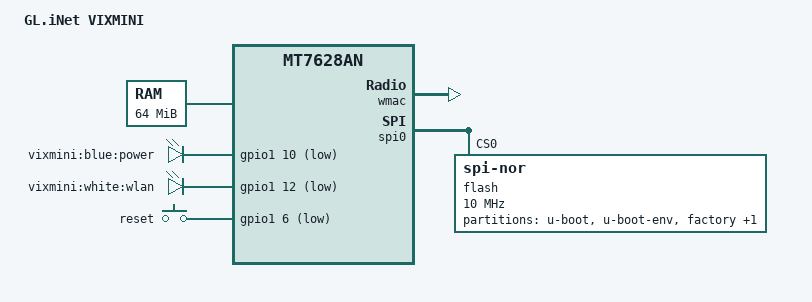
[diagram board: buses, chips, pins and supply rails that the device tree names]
// SPDX-License-Identifier: GPL-2.0-or-later OR MIT
/dts-v1/;

#include "mt7628an.dtsi"

#include <dt-bindings/gpio/gpio.h>
#include <dt-bindings/input/input.h>

/{
	compatible = "glinet,vixmini", "mediatek,mt7628an-soc";
	model = "GL.iNet VIXMINI";

	aliases {
		led-boot = &led_power;
		led-failsafe = &led_power;
		led-running = &led_power;
		led-upgrade = &led_power;
	};

	chosen {
		bootargs = "console=ttyS0,115200";
	};

	memory@0 {
		device_type = "memory";
		reg = <0x0 0x4000000>;
	};

	leds {
		compatible = "gpio-leds";

		led_power: power {
			label = "vixmini:blue:power";
			default-state = "on";
			gpios = <&gpio1 10 GPIO_ACTIVE_LOW>;
		};

		wlan {
			label = "vixmini:white:wlan";
			gpios = <&gpio1 12 GPIO_ACTIVE_LOW>;
			linux,default-trigger = "phy0tpt";
		};
	};

	keys {
		compatible = "gpio-keys-polled";
		poll-interval = <20>;

		reset {
			label = "reset";
			gpios = <&gpio1 6 GPIO_ACTIVE_LOW>;
			linux,code = <KEY_RESTART>;
		};
	};
};

&pinctrl {
	state_default: pinctrl0 {
		gpio {
			ralink,group = "wdt", "wled_an", "p1led_an";
			ralink,function = "gpio";
		};
	};
};

&ethernet {
	mtd-mac-address = <&factory 0x4>;
};

&wmac {
	status = "okay";

	ralink,mtd-eeprom = <&factory 0x0>;
};

&spi0 {
	status = "okay";

	flash@0 {
		compatible = "jedec,spi-nor";
		reg = <0>;
		spi-max-frequency = <10000000>;

		partitions {
			compatible = "fixed-partitions";
			#address-cells = <1>;
			#size-cells = <1>;

			partition@0 {
				label = "u-boot";
				reg = <0x0 0x30000>;
				read-only;
			};

			partition@30000 {
				label = "u-boot-env";
				reg = <0x30000 0x10000>;
				read-only;
			};

			factory: partition@40000 {
				label = "factory";
				reg = <0x40000 0x10000>;
				read-only;
			};

			partition@50000 {
				compatible = "denx,uimage";
				label = "firmware";
				reg = <0x50000 0x7b0000>;
			};
		};
	};
};
